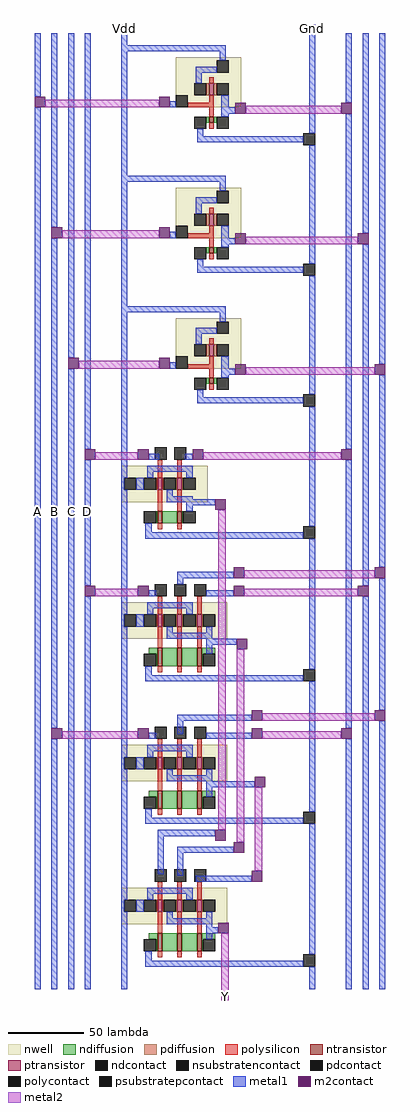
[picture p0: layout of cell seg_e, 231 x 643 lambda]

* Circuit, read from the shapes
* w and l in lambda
.subckt seg_e A B C D Gnd Vdd Y
M1 n1 n2 Gnd Gnd nfet w=12 l=3
M2 n3 B Gnd Gnd nfet w=12 l=3
M3 n4 D Gnd Gnd nfet w=12 l=3
M4 n5 D Gnd Gnd nfet w=8 l=3
M5 n6 n7 n1 Gnd nfet w=12 l=3
M6 n8 n9 n3 Gnd nfet w=12 l=3
M7 n10 n9 n4 Gnd nfet w=12 l=3
M8 n2 n11 n5 Gnd nfet w=8 l=3
M9 Y n12 n6 Gnd nfet w=12 l=3
M10 n12 n11 n8 Gnd nfet w=12 l=3
M11 n7 n13 n10 Gnd nfet w=12 l=3
M12 n9 C Gnd Gnd nfet w=4 l=3
M13 n13 B Gnd Gnd nfet w=4 l=3
M14 n11 A Gnd Gnd nfet w=4 l=3
M15 Y n2 Vdd Vdd pfet w=8 l=3
M16 n12 B Vdd Vdd pfet w=8 l=3
M17 n7 D Vdd Vdd pfet w=8 l=3
M18 n2 D Vdd Vdd pfet w=8 l=3
M19 Vdd n7 Y Vdd pfet w=8 l=3
M20 Vdd n9 n12 Vdd pfet w=8 l=3
M21 Vdd n9 n7 Vdd pfet w=8 l=3
M22 Vdd n11 n2 Vdd pfet w=8 l=3
M23 Y n12 Vdd Vdd pfet w=8 l=3
M24 n12 n11 Vdd Vdd pfet w=8 l=3
M25 n7 n13 Vdd Vdd pfet w=8 l=3
M26 n9 C Vdd Vdd pfet w=8 l=3
M27 n13 B Vdd Vdd pfet w=8 l=3
M28 n11 A Vdd Vdd pfet w=8 l=3
.ends

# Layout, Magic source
magic
tech tsmc
<< metal1 >>
rect 0 86 4 92
rect 124 86 128 92
rect -57 44 -53 86
rect -57 -544 -53 37
rect -46 -42 -42 86
rect -46 -372 -42 -49
rect -35 -128 -31 86
rect -46 -544 -42 -379
rect -35 -544 -31 -135
rect -24 -188 -20 86
rect 32 37 36 41
rect 148 40 152 86
rect 71 33 75 37
rect 32 -49 36 -45
rect 66 -53 75 -49
rect 32 -135 36 -131
rect 66 -139 75 -135
rect 148 -188 152 33
rect 159 -46 163 86
rect 18 -195 25 -191
rect 42 -195 47 -191
rect -24 -278 -20 -195
rect 43 -225 62 -221
rect 37 -273 74 -269
rect 37 -277 41 -273
rect 18 -285 23 -281
rect 56 -285 74 -281
rect -24 -544 -20 -285
rect 60 -317 76 -313
rect 37 -367 86 -363
rect 18 -379 23 -375
rect 37 -376 41 -367
rect 148 -372 152 -195
rect 159 -278 163 -53
rect 170 -132 174 86
rect 170 -266 174 -139
rect 56 -379 86 -375
rect 60 -411 88 -407
rect 24 -443 62 -439
rect 24 -468 28 -443
rect 37 -454 74 -450
rect 37 -469 41 -454
rect 49 -473 86 -469
rect 56 -507 64 -503
rect 148 -544 152 -379
rect 159 -544 163 -285
rect 170 -360 174 -273
rect 170 -544 174 -367
<< m2contact >>
rect -57 37 -50 44
rect -46 -49 -39 -42
rect -35 -135 -28 -128
rect -46 -379 -39 -372
rect 25 37 32 44
rect 75 33 82 40
rect 145 33 152 40
rect 25 -49 32 -42
rect 75 -53 82 -46
rect 25 -135 32 -128
rect 75 -139 82 -132
rect 156 -53 163 -46
rect -24 -195 -17 -188
rect 11 -195 18 -188
rect 47 -195 54 -188
rect 145 -195 152 -188
rect 62 -228 69 -221
rect 74 -273 81 -266
rect -24 -285 -17 -278
rect 11 -285 18 -278
rect 74 -285 81 -278
rect 76 -320 83 -313
rect 86 -367 93 -360
rect 11 -379 18 -372
rect 167 -139 174 -132
rect 167 -273 174 -266
rect 156 -285 163 -278
rect 86 -379 93 -372
rect 145 -379 152 -372
rect 88 -411 95 -404
rect 62 -446 69 -439
rect 74 -454 81 -447
rect 86 -473 93 -466
rect 64 -507 71 -500
rect 167 -367 174 -360
<< metal2 >>
rect -50 37 25 42
rect 82 33 145 38
rect -39 -49 25 -44
rect 82 -53 156 -48
rect -28 -135 25 -130
rect 82 -139 167 -134
rect -17 -195 11 -190
rect 54 -195 145 -190
rect -17 -285 11 -280
rect -39 -379 11 -374
rect 64 -439 69 -228
rect 81 -273 167 -268
rect 81 -285 156 -280
rect 76 -447 81 -320
rect 93 -367 167 -362
rect 93 -379 145 -374
rect 88 -466 93 -411
rect 66 -551 71 -507
use 1INV  1INV_0
transform 1 0 49 0 1 20
box -49 -20 79 66
use 1INV  1INV_1
transform 1 0 49 0 1 -66
box -49 -20 79 66
use 1INV  1INV_2
transform 1 0 49 0 1 -152
box -49 -20 79 66
use 2NAND  2NAND_0
transform 1 0 16 0 1 -215
box -16 -47 112 43
use 3NAND  3NAND_0
transform 1 0 18 0 1 -305
box -18 -51 110 43
use 3NAND  3NAND_1
transform 1 0 18 0 1 -399
box -18 -51 110 43
use 3NAND  3NAND_2
transform 1 0 18 0 1 -493
box -18 -51 110 43
<< labels >>
rlabel metal1 -57 -544 -53 86 3 A
rlabel metal1 -46 -544 -42 86 1 B
rlabel metal1 -35 -544 -31 86 1 C
rlabel metal1 -24 -544 -20 86 1 D
rlabel metal1 0 86 4 92 5 Vdd
rlabel metal1 124 86 128 92 5 Gnd
rlabel metal2 66 -551 71 -546 1 Y
<< end >>

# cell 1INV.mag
magic
tech tsmc
<< nwell >>
rect -13 17 30 50
<< ntransistor >>
rect 9 7 12 11
<< ptransistor >>
rect 9 25 12 33
<< ndiffusion >>
rect 7 7 9 11
rect 12 7 14 11
<< pdiffusion >>
rect 7 25 9 33
rect 12 25 14 33
<< ndcontact >>
rect -1 3 7 11
rect 14 3 22 11
<< pdcontact >>
rect -1 25 7 33
rect 14 25 22 33
<< psubstratepcontact >>
rect 71 -8 79 0
<< nsubstratencontact >>
rect 14 40 22 48
<< polysilicon >>
rect 9 33 12 37
rect 9 20 12 25
rect -5 17 12 20
rect 9 11 12 17
rect 9 3 12 7
<< polycontact >>
rect -13 17 -5 25
<< metal1 >>
rect -49 58 -45 66
rect -49 54 20 58
rect -49 -20 -45 54
rect 16 48 20 54
rect 0 40 14 44
rect 0 33 4 40
rect 17 11 22 25
rect 1 -2 5 3
rect 75 0 79 66
rect 1 -6 71 -2
rect 75 -20 79 -8
<< end >>

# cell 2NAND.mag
magic
tech tsmc
<< nwell >>
rect -16 -8 41 16
<< ntransistor >>
rect 8 -22 11 -14
rect 21 -22 24 -14
<< ptransistor >>
rect 8 0 11 8
rect 21 0 24 8
<< ndiffusion >>
rect 7 -22 8 -14
rect 11 -22 21 -14
rect 24 -22 25 -14
<< pdiffusion >>
rect 7 0 8 8
rect 11 0 12 8
rect 20 0 21 8
rect 24 0 25 8
<< ndcontact >>
rect -1 -22 7 -14
rect 25 -22 33 -14
<< pdcontact >>
rect -1 0 7 8
rect 12 0 20 8
rect 25 0 33 8
<< psubstratepcontact >>
rect 104 -32 112 -24
<< nsubstratencontact >>
rect -14 0 -6 8
<< polysilicon >>
rect 8 8 11 20
rect 21 8 24 20
rect 8 -14 11 0
rect 21 -14 24 0
rect 8 -26 11 -22
rect 21 -26 24 -22
<< polycontact >>
rect 6 20 14 28
rect 19 20 27 28
<< metal1 >>
rect -16 8 -12 43
rect 1 12 31 16
rect 1 8 5 12
rect 27 8 31 12
rect -16 0 -14 8
rect -6 0 -1 8
rect -16 -47 -12 0
rect 14 -4 18 0
rect 14 -8 31 -4
rect 27 -14 31 -8
rect 0 -28 4 -22
rect 108 -24 112 43
rect 0 -32 104 -28
rect 108 -47 112 -32
<< end >>

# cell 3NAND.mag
magic
tech tsmc
<< nwell >>
rect -18 -8 52 16
<< ntransistor >>
rect 6 -26 9 -14
rect 19 -26 22 -14
rect 32 -26 35 -14
<< ptransistor >>
rect 6 0 9 8
rect 19 0 22 8
rect 32 0 35 8
<< ndiffusion >>
rect 0 -18 6 -14
rect 5 -26 6 -18
rect 9 -26 19 -14
rect 22 -26 32 -14
rect 35 -18 44 -14
rect 35 -26 36 -18
<< pdiffusion >>
rect 5 0 6 8
rect 9 0 10 8
rect 18 0 19 8
rect 22 0 23 8
rect 31 0 32 8
rect 35 0 36 8
<< ndcontact >>
rect -3 -26 5 -18
rect 36 -26 44 -18
<< pdcontact >>
rect -3 0 5 8
rect 10 0 18 8
rect 23 0 31 8
rect 36 0 44 8
<< psubstratepcontact >>
rect 102 -36 110 -28
<< nsubstratencontact >>
rect -16 0 -8 8
<< polysilicon >>
rect 6 8 9 20
rect 19 8 22 20
rect 32 8 35 20
rect 6 -14 9 0
rect 19 -14 22 0
rect 32 -14 35 0
rect 6 -30 9 -26
rect 19 -30 22 -26
rect 32 -30 35 -26
<< polycontact >>
rect 4 20 12 28
rect 17 20 25 28
rect 30 20 38 28
<< metal1 >>
rect -18 8 -14 43
rect -1 12 29 16
rect -1 8 3 12
rect 25 8 29 12
rect -18 0 -16 8
rect -8 0 -3 8
rect -18 -51 -14 0
rect 12 -4 16 0
rect 38 -4 42 0
rect 12 -8 42 -4
rect 38 -18 42 -8
rect -2 -32 2 -26
rect 106 -28 110 43
rect -2 -36 102 -32
rect 106 -51 110 -36
<< end >>
